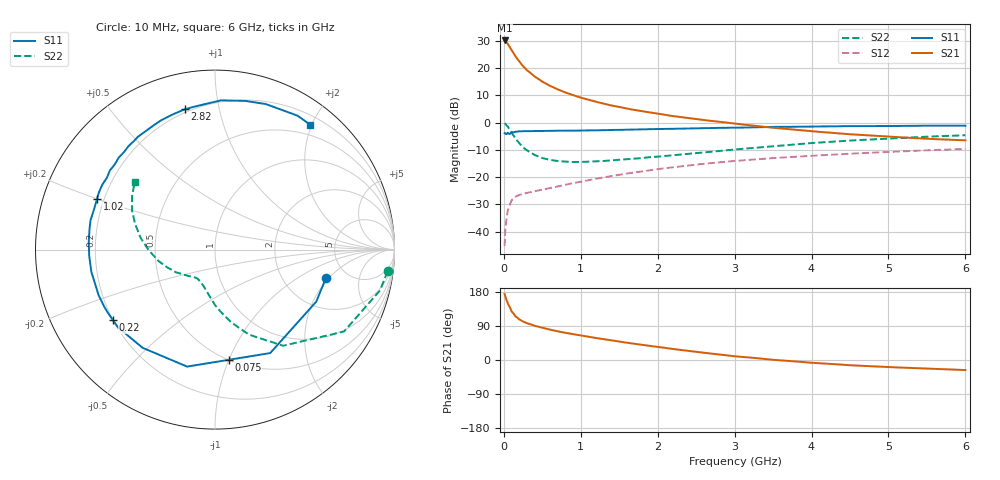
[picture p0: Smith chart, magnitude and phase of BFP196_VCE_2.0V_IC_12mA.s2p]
! Infineon Technologies  Discrete & RF Semiconductors
! BFP196
! VCE = 2.0 V,  IC =  12mA
! Common Emitter S-Parameters:  Jan 2016
# GHz  S  MA  R  50
!  f  S11  S21  S12  S22
! GHz  MAG  ANG  MAG  ANG  MAG  ANG  MAG  ANG
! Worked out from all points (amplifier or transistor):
!   210 points, 10 MHz to 6 GHz, reference 50 ohm
!   highest |S21| = 30.1 dB at 10 MHz (marker M1)
!   |S21| within 3 dB of that: start of sweep to 88.47 MHz
!   unconditionally stable (mu >= 1): 814.3 MHz to 3.455 GHz; 3.616 GHz to 3.857 GHz
!   at 185 MHz: K = 0.35, MSG = 24.9 dB, |S12| = -26.8 dB
!   at 1.52 GHz: K = 1.14, MAG = 10.0 dB, |S12| = -19.1 dB
!   at 6 GHz: K = 0.98, MSG = 1.6 dB, |S12| = -9.7 dB
!   S11 on the Smith chart (normalised r, x): 10 MHz: 3.47, -1.86; 75 MHz: 0.50, -1.00; 220 MHz: 0.20, -0.30; 1.02 GHz: 0.17, +0.20; 2.82 GHz: 0.18, +0.79; 6 GHz: 0.33, +1.97
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0.01  0.6381 -14.4  32.04 174.0  0.0054 85.1  0.9693 -7.2
0.02  0.6343 -27.2  30.89 166.5  0.0108 78.0  0.9471 -13.9
0.05  0.6534 -61.9  27.93 149.2  0.0239 63.1  0.8515 -32.4
0.075  0.6188 -82.9  24.32 140.2  0.0303 53.7  0.7399 -42.1
0.1  0.6701 -103.4  21.5 128.4  0.0373 47.7  0.6562 -54.7
0.15  0.6798 -126.4  16.38 115.5  0.0435 39.9  0.5114 -68.1
0.2  0.6927 -141.3  13.15 107.2  0.0469 36.4  0.4166 -77.3
0.22  0.691 -145.3  12.18 105.1  0.0477 35.6  0.3894 -79.9
0.26  0.6944 -152.8  10.43 100.5  0.0495 34.4  0.342 -85.5
0.3  0.6964 -158.5  9.13 97.0  0.0513 34.5  0.3098 -89.9
0.4  0.6999 -169.8  7 90.3  0.0548 35.3  0.2546 -97.9
0.5  0.7016 -177.1  5.624 85.0  0.0584 37.1  0.223 -104.4
0.6  0.7047 176.8  4.714 80.1  0.0627 39.2  0.2067 -109.7
0.7  0.7083 171.4  4.064 75.6  0.067 40.6  0.197 -113.8
1.02  0.7153 156.9  2.813 64.0  0.0832 44.3  0.1896 -123.4
1.4  0.7332 143.0  2.055 51.9  0.1041 45.7  0.202 -132.4
2.02  0.7617 123.7  1.434 34.0  0.1411 43.5  0.2379 -146.5
2.82  0.7997 102.0  1.026 14.1  0.1874 36.7  0.3029 -164.7
3.1  0.8084 95.9  0.923 8.2  0.2024 33.4  0.3289 -170.8
4.1  0.8468 76.9  0.675 -8.5  0.2501 22.5  0.4289 169.0
5.1  0.8647 63.2  0.542 -19.5  0.2934 11.2  0.5179 153.1
6  0.8749 52.8  0.472 -26.5  0.3279 0.7  0.5854 139.8
